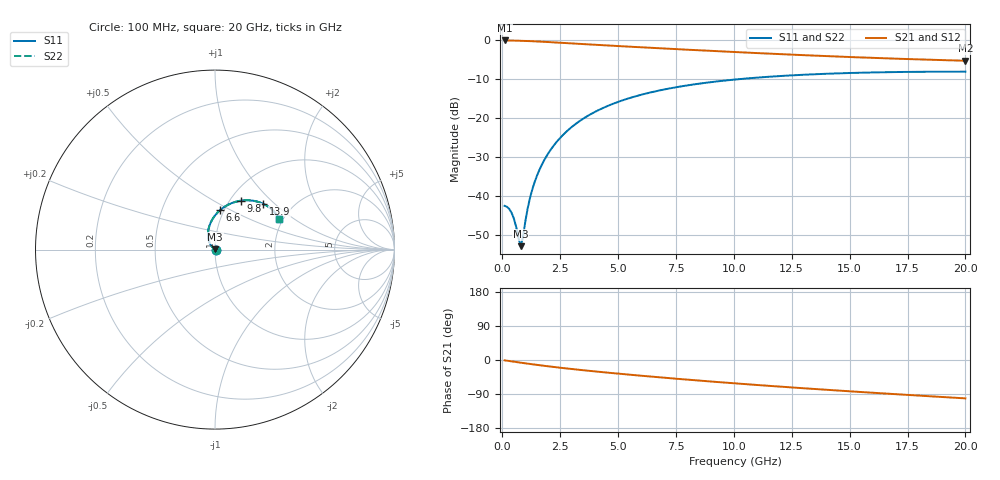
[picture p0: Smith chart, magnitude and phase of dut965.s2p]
! Touchstone file exported from HFSS 2024.1.0
!  File:  C:/UserFiles/LocalFiles/RDL_TSV_Batchsim/temp_RDL_TSV_965_1779969909.aedt
!  Generated:  08:19:56 PM May 28, 2026
!  Design:  RDL_TSV
!  Project:  temp_RDL_TSV_965_1779969909
!  Setup:  Setup1
!  Solution:  Sweep
! Variables:
!  dtsv = 7.61um
!  hbump = 3um
!  htsv = 67.21um
!  ldown = 255.57um
!  lrdl = 101.08um
!  p = 40
!  p1 = 44.07um
!  rhole = 10um
!  subl = 1171.03um
!  t = 450um
!  tdown = 4.96um
!  trdl = 3.79um
!  viad = 10um
!  wdown = 14.34um
!  wrdl = 14.65um
!  xbump = 18um
# GHz S MA R 50.000000
! Terminal data exported
! Port[1] = TM1_1_T1
! Port[2] = TM1_4_T1
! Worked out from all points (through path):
!   200 points, 100 MHz to 20 GHz, reference 50 ohm
!   highest |S21| = -0.07 dB at 100 MHz (marker M1); lowest = -5.3 dB at 20 GHz (marker M2)
!   group delay of S21, straight-line fit = 13.4 ps
!   lowest |S11| = -52.8 dB at 800 MHz (marker M3), VSWR 1.00, Z = 50.1 + j0.211 ohm
!   |S11| at or under -10 dB: start of sweep to 10.2 GHz
!   |S22| runs from -52.8 to -8.1 dB; largest |S21 - S12| = 1.5e-14
!   S11 on the Smith chart (normalised r, x): 100 MHz: 1.02, +0.00; 6.6 GHz: 0.96, +0.44; 9.8 GHz: 1.12, +0.67; 13.9 GHz: 1.43, +0.85; 20 GHz: 1.91, +0.76
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0.1  0.007516 1.5  0.9922 -0.9  0.9922 -0.9  0.007516 1.5
! Gamma 0 0 0 0
! Port Impedance 50 0 50 0
0.3  0.006865 3.1  0.9907 -2.7  0.9907 -2.7  0.006866 3.1
0.4  0.00614 4.4  0.9896 -3.6  0.9896 -3.6  0.006141 4.4
0.5  0.005178 7.4  0.9882 -4.5  0.9882 -4.5  0.00518 7.4
0.8  0.002289 67.1  0.9828 -7.1  0.9828 -7.1  0.002289 67.0
0.9  0.003064 106.6  0.9806 -8.0  0.9806 -8.0  0.003063 106.5
1  0.004843 125.0  0.9781 -8.8  0.9781 -8.8  0.004841 125.0
1.2  0.009604 136.0  0.9728 -10.5  0.9728 -10.5  0.009601 136.0
1.4  0.01528 137.8  0.9668 -12.1  0.9668 -12.1  0.01528 137.8
1.7  0.02505 136.0  0.9569 -14.5  0.9569 -14.5  0.02505 136.0
2.1  0.03983 131.4  0.9427 -17.5  0.9427 -17.5  0.03982 131.4
2.5  0.05597 126.1  0.928 -20.4  0.928 -20.4  0.05596 126.1
3.5  0.09889 113.1  0.8914 -27.0  0.8914 -27.0  0.09886 113.1
4.8  0.1538 98.7  0.8474 -34.8  0.8474 -34.8  0.1537 98.7
6.6  0.2206 82.9  0.7932 -44.7  0.7932 -44.7  0.2205 82.9
6.8  0.2272 81.4  0.7876 -45.8  0.7876 -45.8  0.2272 81.4
9.8  0.308 62.2  0.7106 -60.5  0.7106 -60.5  0.3078 62.2
10.1  0.3142 60.6  0.7036 -61.9  0.7036 -61.9  0.3141 60.6
13.4  0.3651 45.6  0.6357 -76.2  0.6357 -76.2  0.3649 45.6
13.9  0.3703 43.7  0.6269 -78.2  0.6269 -78.2  0.3701 43.7
16.7  0.3894 34.2  0.5836 -89.1  0.5836 -89.1  0.3892 34.2
20  0.3946 25.2  0.5455 -101.3  0.5455 -101.3  0.3944 25.2
